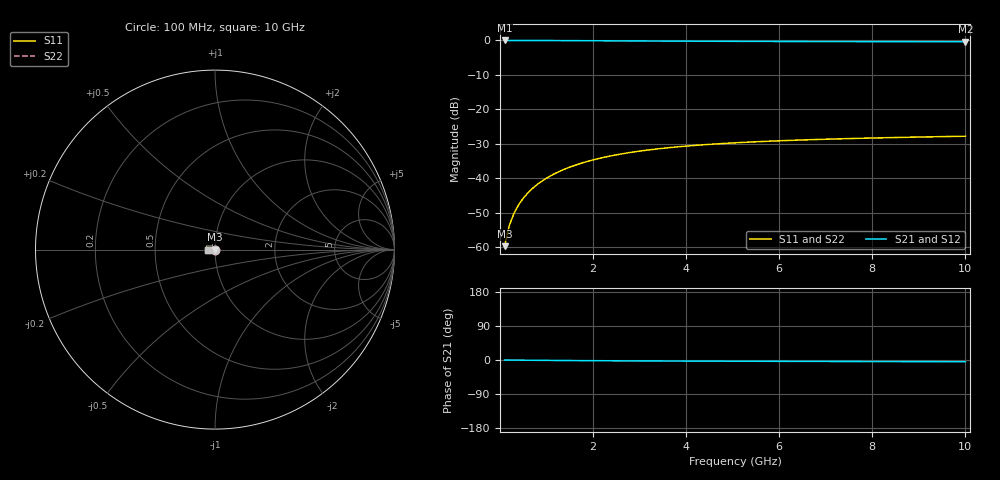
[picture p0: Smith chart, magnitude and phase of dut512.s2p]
! Touchstone file exported from HFSS 2024.1.0
!  File:  C:/UserFiles/LocalFiles/RDL_TSV_Batchsim/temp_TSV1_512_1779702733.aedt
!  Generated:  05:58:14 PM May 25, 2026
!  Design:  TSV1
!  Project:  temp_TSV1_512_1779702733
!  Setup:  Setup1
!  Solution:  Sweep
! Variables:
!  dtsv = 9.1um
!  hbump = 3um
!  htsv = 72.21um
!  lrdl = 252.1521522um
!  p = 40
!  p1 = 43.49um
!  t = 500um
!  trdl = 3um
!  wrdl = 24.89489489um
# GHz S MA R 50.000000
! Terminal data exported
! Port[1] = TSV22_T1
! Port[2] = TSV22_T2
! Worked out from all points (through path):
!   100 points, 100 MHz to 10 GHz, reference 50 ohm
!   highest |S21| = 0.00 dB at 100 MHz (marker M1); lowest = -0.4 dB at 10 GHz (marker M2)
!   lowest |S11| = -59.7 dB at 100 MHz (marker M3), VSWR 1.00, Z = 50 - j0.103 ohm
!   |S11| at or under -10 dB: start of sweep to end of sweep
!   |S22| runs from -59.7 to -27.8 dB; largest |S21 - S12| = 5.2e-15
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0.1  0.00104 -82.4  0.9998 -0.1  0.9998 -0.1  0.00104 -82.4
! Gamma 0 0 0 0
! Port Impedance 50 0 50 0
0.2  0.002067 -88.4  0.9997 -0.2  0.9997 -0.2  0.002067 -88.4
0.3  0.003098 -91.5  0.9995 -0.3  0.9995 -0.3  0.003098 -91.5
0.4  0.004127 -93.9  0.9993 -0.4  0.9993 -0.4  0.004127 -93.9
0.5  0.005148 -96.1  0.999 -0.5  0.999 -0.5  0.005148 -96.1
0.6  0.00616 -98.0  0.9987 -0.6  0.9987 -0.6  0.00616 -98.0
0.7  0.00716 -99.9  0.9983 -0.7  0.9983 -0.7  0.00716 -99.9
0.8  0.008146 -101.6  0.9979 -0.8  0.9979 -0.8  0.008146 -101.6
0.9  0.009117 -103.4  0.9974 -0.9  0.9974 -0.9  0.009117 -103.4
1.1  0.01101 -106.7  0.9964 -1.1  0.9964 -1.1  0.01101 -106.7
1.4  0.01371 -111.4  0.9945 -1.4  0.9945 -1.4  0.01371 -111.4
1.6  0.0154 -114.4  0.9932 -1.5  0.9932 -1.5  0.0154 -114.4
1.8  0.01701 -117.3  0.9917 -1.7  0.9917 -1.7  0.01701 -117.3
2.1  0.01926 -121.4  0.9895 -1.9  0.9895 -1.9  0.01926 -121.4
2.5  0.02195 -126.4  0.9865 -2.1  0.9865 -2.1  0.02195 -126.4
2.9  0.02431 -131.1  0.9835 -2.4  0.9835 -2.4  0.02431 -131.1
3.4  0.02685 -136.4  0.9801 -2.6  0.9801 -2.6  0.02685 -136.4
4.2  0.03012 -143.8  0.9752 -2.9  0.9752 -2.9  0.03012 -143.8
5.1  0.03292 -150.9  0.9706 -3.2  0.9706 -3.2  0.03292 -150.9
6.7  0.03645 -161.0  0.9646 -3.7  0.9646 -3.7  0.03645 -161.0
8.4  0.03903 -169.5  0.9604 -4.2  0.9604 -4.2  0.03903 -169.5
10  0.04087 -176.2  0.9575 -4.6  0.9575 -4.6  0.04087 -176.2
